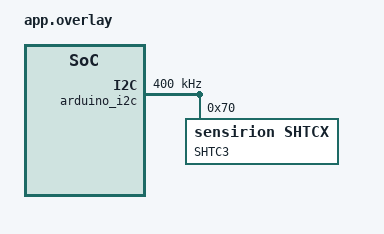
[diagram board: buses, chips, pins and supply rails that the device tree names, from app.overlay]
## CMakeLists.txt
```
# SPDX-License-Identifier: Apache-2.0

cmake_minimum_required(VERSION 3.13.1)

find_package(Zephyr REQUIRED HINTS $ENV{ZEPHYR_BASE})
project(shtcx)

FILE(GLOB app_sources src/*.c)
target_sources(app PRIVATE ${app_sources})
```

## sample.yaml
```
sample:
  name: Sensirion SHTCx Humidity/Temperature Sensor
tests:
  sample.sensor.shtcx:
    harness: sensor
    platform_allow: i2c arduino_i2c
    harness_config:
        type: one_line
        regex:
            - "Temp = (.*) C, RH = (.*)"
        fixture: fixture_i2c_shtcx
```

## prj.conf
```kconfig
CONFIG_ASSERT=y
CONFIG_I2C=y
CONFIG_SENSOR=y
CONFIG_SHTCX=y
```

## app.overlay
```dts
/*
 * Copyright (c) 2021 Thomas Stranger
 *
 * SPDX-License-Identifier: Apache-2.0
 */

/*
 * A shtc3 attached to the Arduino I2C pins
 */

&arduino_i2c {
	clock-frequency = <I2C_BITRATE_FAST>;

	SHTC3@70 {
		status = "okay";
		compatible = "sensirion,shtcx";
		reg = <0x70>;
		label = "SHTC3";

		/* if you use a SHTC1 or SHTW1 change the chip to "shtc1" */
		chip = "shtc3";
		clock-stretching;
	};
};
```

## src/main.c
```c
/*
 * Copyright (c) 2021 Thomas Stranger
 *
 * SPDX-License-Identifier: Apache-2.0
 */

#include <zephyr.h>
#include <device.h>
#include <devicetree.h>
#include <drivers/sensor.h>
#include <sys/printk.h>

static const struct device *get_shtcx_device(void)
{
	const struct device *dev = DEVICE_DT_GET_ANY(sensirion_shtcx);

	if (dev == NULL) {
		/* No such node, or the node does not have status "okay". */
		printk("\nError: no device found.\n");
		return NULL;
	}

	if (!device_is_ready(dev)) {
		printk("\nError: Device \"%s\" is not ready; "
		       "check the driver initialization logs for errors.\n",
		       dev->name);
		return NULL;
	}

	printk("Found device \"%s\", getting sensor data\n", dev->name);
	return dev;
}

void main(void)
{
	const struct device *dev = get_shtcx_device();

	if (dev == NULL) {
		return;
	}

	struct sensor_value temp, humidity;

	while (1) {
		sensor_sample_fetch(dev);
		sensor_channel_get(dev, SENSOR_CHAN_AMBIENT_TEMP, &temp);
		sensor_channel_get(dev, SENSOR_CHAN_HUMIDITY, &humidity);

		printk("Temp = %d.%06d C, RH = %d.%06d %%\n",
		       temp.val1, temp.val2, humidity.val1, humidity.val2);

		k_sleep(K_SECONDS(2));
	}
}
```
